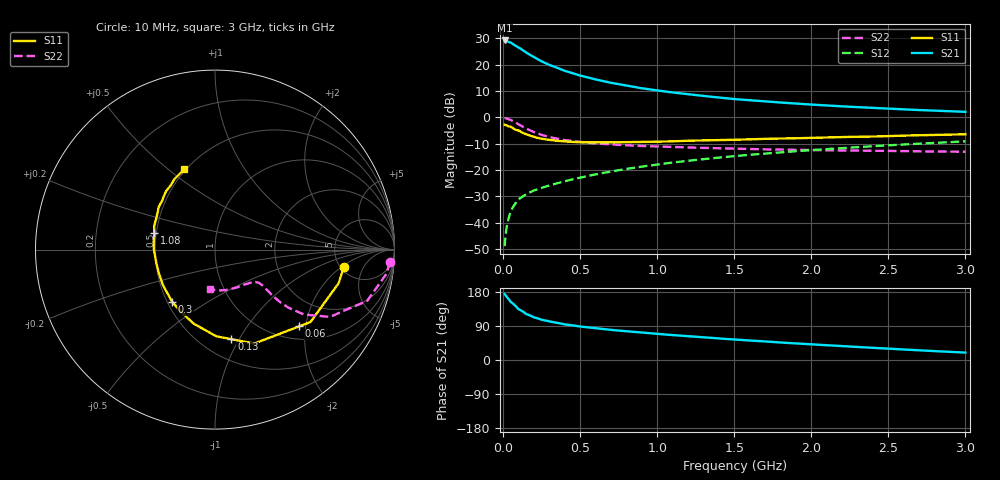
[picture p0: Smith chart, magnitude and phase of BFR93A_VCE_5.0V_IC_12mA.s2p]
! Infineon Technologies  Discrete & RF Semiconductors
! BFR93A
! VCE =  5.0 V,  IC =  12 mA
! Common Emitter S-Parameters:  Nov 2015
# GHz  S  MA  R  50
!  f  S11  S21  S12  S22
! GHz  MAG  ANG  MAG  ANG  MAG  ANG  MAG  ANG
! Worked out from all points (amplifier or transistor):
!   180 points, 10 MHz to 3 GHz, reference 50 ohm
!   highest |S21| = 29.2 dB at 10 MHz (marker M1)
!   |S21| within 3 dB of that: start of sweep to 109.5 MHz
!   unconditionally stable (mu >= 1): 545.5 MHz to 2.646 GHz
!   at 160 MHz: K = 0.55, MSG = 26.6 dB, |S12| = -28.8 dB
!   at 1.22 GHz: K = 1.08, MAG = 10.7 dB, |S12| = -16.3 dB
!   at 3 GHz: K = 0.97, MSG = 5.6 dB, |S12| = -9.1 dB
!   S11 on the Smith chart (normalised r, x): 10 MHz: 5.32, -2.21; 60 MHz: 1.29, -1.84; 130 MHz: 0.69, -0.93; 300 MHz: 0.53, -0.36; 1.08 GHz: 0.49, +0.10; 3 GHz: 0.49, +0.57
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0.01  0.7247 -7.8  28.92 174.0  0.0036 84.5  0.977 -4.1
0.02  0.7136 -15.3  28.52 168.5  0.0071 81.5  0.9649 -8.0
0.05  0.6677 -37.2  26.32 153.3  0.0167 73.4  0.8948 -18.6
0.06  0.6349 -42.3  25.14 150.1  0.0189 70.5  0.8615 -20.6
0.1  0.5672 -67.3  21.37 134.4  0.0278 63.5  0.7413 -30.4
0.13  0.5074 -79.6  18.64 127.3  0.032 60.9  0.6637 -33.6
0.15  0.4829 -89.2  17.02 121.4  0.0349 59.5  0.6133 -36.1
0.2  0.4292 -106.1  13.88 112.7  0.041 58.5  0.5263 -38.3
0.24  0.3998 -116.3  12.04 107.7  0.045 58.4  0.4777 -38.8
0.26  0.39 -121.0  11.26 105.4  0.047 58.6  0.4573 -38.9
0.3  0.3765 -129.2  9.937 101.5  0.051 59.4  0.4242 -38.8
0.4  0.3516 -145.3  7.664 94.0  0.0614 61.2  0.3708 -37.9
0.52  0.3376 -159.7  6.037 87.5  0.0741 62.9  0.337 -37.1
0.6  0.3354 -167.2  5.257 83.7  0.0829 63.6  0.3208 -36.9
0.7  0.3363 -174.2  4.546 79.4  0.094 64.3  0.3073 -37.1
0.88  0.3432 174.3  3.665 73.1  0.1141 64.5  0.2891 -38.6
1.02  0.3472 167.2  3.192 68.3  0.13 64.0  0.2803 -40.3
1.08  0.3505 164.8  3.031 66.4  0.1369 63.8  0.2763 -41.4
1.52  0.3784 148.1  2.209 53.6  0.1863 61.0  0.2543 -50.2
2.02  0.4116 134.1  1.74 40.9  0.2418 56.7  0.2399 -63.5
2.52  0.4447 121.9  1.458 29.5  0.2979 51.4  0.2309 -79.1
3  0.4795 110.9  1.277 19.5  0.3513 45.9  0.2239 -97.8
